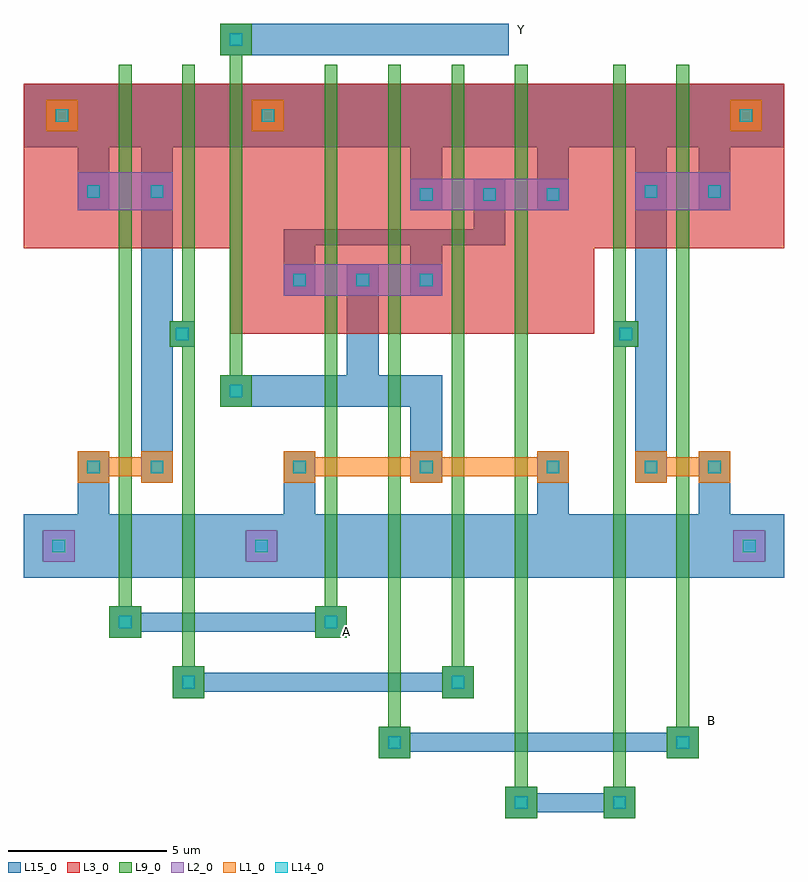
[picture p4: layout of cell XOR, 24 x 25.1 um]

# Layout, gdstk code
import gdstk
lib = gdstk.Library(unit=1e-6, precision=1e-09)
def R(c, l, rs):  # rectangles x0, y0, x1, y1
    for r in rs: c.add(gdstk.rectangle(r[:2], r[2:], *l))
def A(c, l, x, y, w, h, nx, ny, dx, dy):  # array of equal rectangles
    R(c, l, [(x+i*dx, y+j*dy, x+i*dx+w, y+j*dy+h) for i in range(nx) for j in range(ny)])
def P(c, l, *ps):  # polygons
    for p in ps: c.add(gdstk.Polygon(p, *l))
L1_0 = (1, 0)
L2_0 = (2, 0)
L3_0 = (3, 0)
L9_0 = (9, 0)
L14_0 = (14, 0)
L15_0 = (15, 0)

xor = lib.new_cell('XOR')
R(xor, L1_0, [(-2.7,-3.9,-1.7,-2.9), (3.8,-3.9,4.8,-2.9), (18.9,-3.9,19.9,-2.9)])
P(xor, L1_0, [(18.9,-14),(17.9,-14),(17.9,-14.2),(16.9,-14.2),(16.9,-14),(15.9,-14),(15.9,-15),(16.9,-15),(16.9,-14.8),(17.9,-14.8),(17.9,-15),(18.9,-15)],
  [(13.8,-15),(13.8,-14),(12.8,-14),(12.8,-14.2),(9.8,-14.2),(9.8,-14),(8.8,-14),(8.8,-14.2),(5.8,-14.2),(5.8,-14),(4.8,-14),(4.8,-15),(5.8,-15),(5.8,-14.8),(8.8,-14.8),(8.8,-15),(9.8,-15),(9.8,-14.8),(12.8,-14.8),(12.8,-15)],
  [(-1.7,-14),(-1.7,-15),(-0.7,-15),(-0.7,-14.8),(0.3,-14.8),(0.3,-15),(1.3,-15),(1.3,-14),(0.3,-14),(0.3,-14.2),(-0.7,-14.2),(-0.7,-14)])
R(xor, L2_0, [(-2.8,-17.5,-1.8,-16.5), (3.6,-17.5,4.6,-16.5), (19,-17.5,20,-16.5), (4.8,-9.1,9.8,-8.1), (-1.7,-6.4,1.3,-5.2), (8.8,-6.4,13.8,-5.4), (15.9,-6.4,18.9,-5.2)])
R(xor, L3_0, [(3.1,-10.3,14.6,-2.4), (-3.4,-7.6,3.1,-2.4), (14.6,-7.6,20.6,-2.4)])
P(xor, L9_0, [(10.8,-21.8),(10.8,-20.8),(10.5,-20.8),(10.5,-1.8),(10.1,-1.8),(10.1,-20.8),(9.8,-20.8),(9.8,-21.8)],
  [(16.9,-23.7),(17.9,-23.7),(17.9,-22.7),(17.6,-22.7),(17.6,-1.8),(17.2,-1.8),(17.2,-22.7),(16.9,-22.7)],
  [(14.9,-25.6),(15.9,-25.6),(15.9,-24.6),(15.6,-24.6),(15.6,-10.7),(16,-10.7),(16,-9.9),(15.6,-9.9),(15.6,-1.8),(15.2,-1.8),(15.2,-24.6),(14.9,-24.6)],
  [(12.8,-25.6),(12.8,-24.6),(12.5,-24.6),(12.5,-1.8),(12.1,-1.8),(12.1,-24.6),(11.8,-24.6),(11.8,-25.6)],
  [(7.8,-23.7),(8.8,-23.7),(8.8,-22.7),(8.5,-22.7),(8.5,-1.8),(8.1,-1.8),(8.1,-22.7),(7.8,-22.7)],
  [(6.8,-19.9),(6.8,-18.9),(6.5,-18.9),(6.5,-1.8),(6.1,-1.8),(6.1,-18.9),(5.8,-18.9),(5.8,-19.9)],
  [(3.1,-1.5),(3.1,-11.6),(2.8,-11.6),(2.8,-12.6),(3.8,-12.6),(3.8,-11.6),(3.5,-11.6),(3.5,-1.5),(3.8,-1.5),(3.8,-0.5),(2.8,-0.5),(2.8,-1.5)],
  [(0.3,-19.9),(0.3,-18.9),(0,-18.9),(0,-1.8),(-0.4,-1.8),(-0.4,-18.9),(-0.7,-18.9),(-0.7,-19.9)],
  [(2.3,-21.8),(2.3,-20.8),(2,-20.8),(2,-1.8),(1.6,-1.8),(1.6,-9.9),(1.2,-9.9),(1.2,-10.7),(1.6,-10.7),(1.6,-20.8),(1.3,-20.8),(1.3,-21.8)])
A(xor, L14_0, 5.1, -14.7, 0.4, 0.4, 3, 1, 4, 0)
A(xor, L14_0, 5.1, -8.8, 0.4, 0.4, 3, 1, 2, 0)
A(xor, L14_0, 9.1, -6.1, 0.4, 0.4, 3, 1, 2, 0)
R(xor, L14_0, [(12.1,-25.3,12.5,-24.9), (15.2,-25.3,15.6,-24.9), (8.1,-23.4,8.5,-23), (17.2,-23.4,17.6,-23), (1.6,-21.5,2,-21.1), (10.1,-21.5,10.5,-21.1), (-0.4,-19.6,0,-19.2), (6.1,-19.6,6.5,-19.2), (-2.5,-17.2,-2.1,-16.8), (3.9,-17.2,4.3,-16.8), (19.3,-17.2,19.7,-16.8), (-1.4,-14.7,-1,-14.3), (0.6,-14.7,1,-14.3), (16.2,-14.7,16.6,-14.3), (18.2,-14.7,18.6,-14.3), (3.1,-12.3,3.5,-11.9), (1.4,-10.5,1.8,-10.1), (15.4,-10.5,15.8,-10.1), (-1.4,-6,-1,-5.6), (0.6,-6,1,-5.6), (16.2,-6,16.6,-5.6), (18.2,-6,18.6,-5.6), (-2.4,-3.6,-2,-3.2), (4.1,-3.6,4.5,-3.2), (19.2,-3.6,19.6,-3.2), (3.1,-1.2,3.5,-0.8)])
R(xor, L15_0, [(11.8,-25.6,12.8,-24.6), (14.9,-25.6,15.9,-24.6), (12.8,-25.4,14.9,-24.8), (7.8,-23.7,8.8,-22.7), (16.9,-23.7,17.9,-22.7), (8.8,-23.5,16.9,-22.9), (1.3,-21.8,2.3,-20.8), (9.8,-21.8,10.8,-20.8), (2.3,-21.6,9.8,-21), (-0.7,-19.9,0.3,-18.9), (5.8,-19.9,6.8,-18.9), (0.3,-19.7,5.8,-19.1), (2.8,-1.5,11.9,-0.5)])
P(xor, L15_0, [(15.9,-4.4),(15.9,-6.4),(16.9,-6.4),(16.9,-4.4),(17.9,-4.4),(17.9,-6.4),(18.9,-6.4),(18.9,-4.4),(20.6,-4.4),(20.6,-2.4),(14.6,-2.4),(14.6,-4.4)],
  [(17.9,-16),(14.6,-16),(14.6,-18),(20.6,-18),(20.6,-16),(18.9,-16),(18.9,-14),(17.9,-14)],
  [(15.2,-9.9),(15.2,-10.7),(15.9,-10.7),(15.9,-15),(16.9,-15),(16.9,-5.2),(15.9,-5.2),(15.9,-9.9)],
  [(13.8,-4.4),(14.6,-4.4),(14.6,-2.4),(3.1,-2.4),(3.1,-4.4),(8.8,-4.4),(8.8,-6.4),(9.8,-6.4),(9.8,-4.4),(12.8,-4.4),(12.8,-6.4),(13.8,-6.4)],
  [(9.8,-15),(9.8,-11.6),(7.8,-11.6),(7.8,-8.1),(6.8,-8.1),(6.8,-11.6),(2.8,-11.6),(2.8,-12.6),(8.8,-12.6),(8.8,-15)],
  [(5.8,-16),(5.8,-14),(4.8,-14),(4.8,-16),(3.1,-16),(3.1,-18),(14.6,-18),(14.6,-16),(13.8,-16),(13.8,-14),(12.8,-14),(12.8,-16)],
  [(2,-9.9),(1.3,-9.9),(1.3,-5.2),(0.3,-5.2),(0.3,-15),(1.3,-15),(1.3,-10.7),(2,-10.7)],
  [(-0.7,-16),(-0.7,-14),(-1.7,-14),(-1.7,-16),(-3.4,-16),(-3.4,-18),(3.1,-18),(3.1,-16)],
  [(1.3,-4.4),(3.1,-4.4),(3.1,-2.4),(-3.4,-2.4),(-3.4,-4.4),(-1.7,-4.4),(-1.7,-6.4),(-0.7,-6.4),(-0.7,-4.4),(0.3,-4.4),(0.3,-6.4),(1.3,-6.4)],
  [(10.8,-5.4),(10.8,-7),(4.8,-7),(4.8,-9.1),(5.8,-9.1),(5.8,-7.5),(8.8,-7.5),(8.8,-9.1),(9.8,-9.1),(9.8,-7.5),(11.8,-7.5),(11.8,-5.4)])
xor.add(gdstk.Label('A', (6.8,-19.7), layer=1, texttype=0))
xor.add(gdstk.Label('B', (18.3,-22.5), layer=1, texttype=0))
xor.add(gdstk.Label('Y', (12.3,-0.7), layer=1, texttype=0))

lib.write_gds('XOR.gds')
